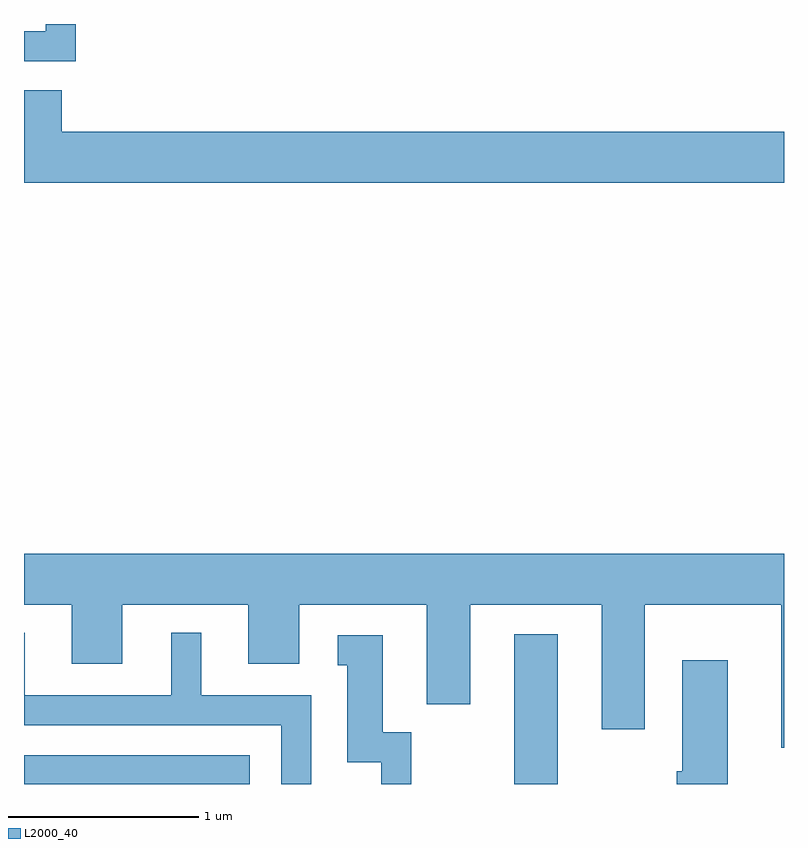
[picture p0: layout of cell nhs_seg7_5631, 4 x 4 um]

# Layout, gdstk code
import gdstk
lib = gdstk.Library(unit=1e-6, precision=1e-09)
def R(c, l, rs):  # rectangles x0, y0, x1, y1
    for r in rs: c.add(gdstk.rectangle(r[:2], r[2:], *l))
def P(c, l, *ps):  # polygons
    for p in ps: c.add(gdstk.Polygon(p, *l))
L2000_40 = (2000, 40)

nhs_seg7_5631 = lib.new_cell('nhs_seg7_5631')
R(nhs_seg7_5631, L2000_40, [(357.611,1722.252,358.799,1722.404), (360.191,1722.252,360.419,1723.039)])
P(nhs_seg7_5631, L2000_40, [(357.884,1726.252),(357.726,1726.252),(357.726,1726.214),(357.611,1726.214),(357.611,1726.056),(357.884,1726.056)],
  [(361.611,1725.684),(357.809,1725.684),(357.809,1725.904),(357.611,1725.904),(357.611,1725.416),(361.611,1725.416)],
  [(361.611,1723.464),(357.611,1723.464),(357.611,1723.196),(357.861,1723.196),(357.861,1722.886),(358.129,1722.886),(358.129,1723.196),(358.791,1723.196),(358.791,1722.886),(359.059,1722.886),(359.059,1723.196),(359.731,1723.196),(359.731,1722.671),(359.959,1722.671),(359.959,1723.196),(360.651,1723.196),(360.651,1722.541),(360.879,1722.541),(360.879,1723.196),(361.596,1723.196),(361.596,1722.443),(361.611,1722.443)],
  [(359.124,1722.719),(358.544,1722.719),(358.544,1723.048),(358.386,1723.048),(358.386,1722.719),(357.614,1722.719),(357.614,1723.048),(357.611,1723.048),(357.611,1722.561),(358.966,1722.561),(358.966,1722.252),(359.124,1722.252)],
  [(359.649,1722.524),(359.499,1722.524),(359.499,1723.034),(359.263,1723.034),(359.263,1722.876),(359.311,1722.876),(359.311,1722.366),(359.491,1722.366),(359.491,1722.252),(359.649,1722.252)],
  [(361.314,1722.904),(361.076,1722.904),(361.076,1722.319),(361.046,1722.319),(361.046,1722.252),(361.314,1722.252)])

lib.write_gds('nhs_seg7_5631.gds')
